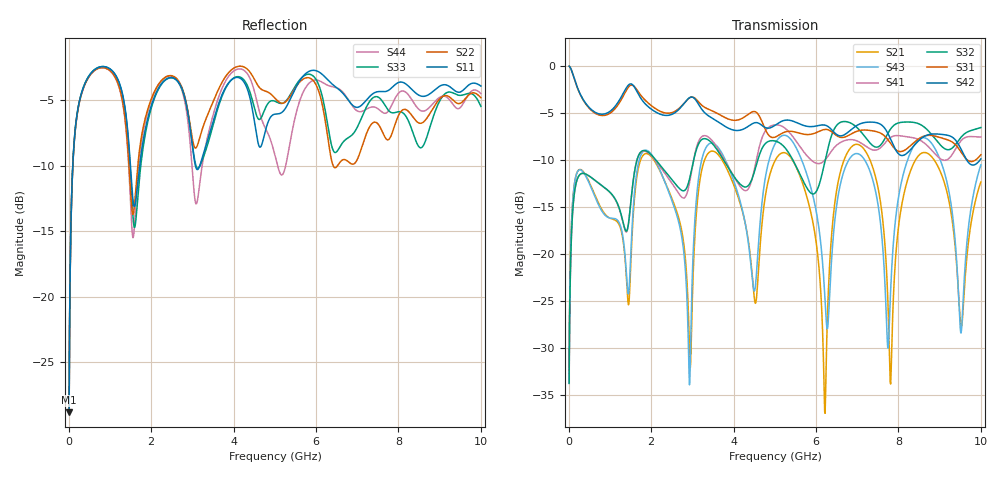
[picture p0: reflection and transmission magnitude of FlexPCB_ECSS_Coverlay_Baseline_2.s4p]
! TOUCHSTONE file generated by CST MICROWAVE STUDIO
! Date and time: Sun Jul  5 19:09:31 2026
! Project name: FlexPCB_ECSS_Coverlay_Baseline.cst
! Parameters = {Gap=0.4; GroundW=4; Hadh=0.025; Hcov=0.025; Hsub=0.1; L=50; Tcu=0.035; W=0.16}
! Header version: 2024
! Port assignment regex: !\s*Touchstone port\s*([0-9]+)\s*=\s*(CST MWS port|CST DES external port|CST DES block port)\s*(.+)\s* \(\"(.*)\"\)(\s*mode\s*([0-9]+))?.*
! Touchstone port assignment:
! Touchstone port 1 = CST MWS port 1 ("")
! Touchstone port 2 = CST MWS port 2 ("")
! Touchstone port 3 = CST MWS port 3 ("")
! Touchstone port 4 = CST MWS port 4 ("")
# GHz S MA R 50
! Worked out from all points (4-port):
!   1002 points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, 10 MHz to 10 GHz, reference 50 ohm
!   strongest paths, dB at 10 MHz, 2.51 GHz, 5.01 GHz, 7.503 GHz, 10 GHz:
!     S42: 0.0, -5.1, -6.3, -6.1, -9.9
!     S31: 0.0, -5.0, -7.6, -7.0, -9.4
!     S32: -33.7, -12.1, -8.0, -8.6, -6.5
!     S41: -33.7, -12.5, -6.3, -8.9, -7.6
!     S43: -32.6, -14.4, -8.2, -14.7, -10.5
!     S21: -32.6, -14.2, -10.0, -12.9, -12.3
!   lowest |S11| = -28.8 dB at 10 MHz (marker M1), VSWR 1.08, Z = 49.8 - j3.61 ohm
!   |S11| at or under -10 dB: start of sweep to 98.78 MHz; 1.497 GHz to 1.721 GHz (224 MHz wide, 13.9 % of centre); 3.073 GHz to 3.18 GHz (107.2 MHz wide, 3.43 % of centre)
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0.01  0.03623 -91.5  0.0234 85.3  0.9976 -2.6  0.02055 85.3
      0.0234 85.3  0.03589 -91.4  0.02055 85.3  0.9976 -2.6
      0.9976 -2.6  0.02055 85.3  0.03623 -91.5  0.02341 85.3
      0.02055 85.3  0.9976 -2.6  0.02341 85.3  0.03589 -91.4
1.54  0.2531 151.0  0.1291 63.1  0.7909 -166.5  0.2201 -104.6
      0.1291 63.1  0.2111 164.3  0.2208 -104.7  0.7978 -171.2
      0.7909 -166.5  0.2208 -104.7  0.2265 144.5  0.1417 63.2
      0.2201 -104.6  0.7978 -171.2  0.1417 63.2  0.1762 158.1
3.08  0.3131 166.5  0.1461 62.7  0.6692 22.5  0.3549 88.6
      0.1461 62.7  0.3689 176.8  0.3486 83.1  0.6603 17.4
      0.6692 22.5  0.3486 83.1  0.319 165.9  0.1752 69.1
      0.3549 88.6  0.6603 17.4  0.1752 69.1  0.2274 168.5
5.1  0.4987 -170.2  0.3361 16.1  0.429 170.5  0.4848 -145.6
     0.3361 16.1  0.5528 165.7  0.3919 -150.0  0.4992 174.6
     0.429 170.5  0.3919 -150.0  0.5478 179.8  0.4139 19.2
     0.4848 -145.6  0.4992 174.6  0.4139 19.2  0.3034 172.9
6.21  0.6906 172.9  0.01458 -153.5  0.4596 54.7  0.3151 101.3
      0.01458 -153.5  0.483 135.1  0.3069 134.1  0.4851 49.4
      0.4596 54.7  0.3069 134.1  0.5267 148.7  0.06165 -121.6
      0.3151 101.3  0.4851 49.4  0.06165 -121.6  0.6491 179.1
6.83  0.5496 169.8  0.3652 13.0  0.4324 -8.9  0.406 31.5
      0.3652 13.0  0.3229 169.5  0.4984 37.8  0.4546 -10.6
      0.4324 -8.9  0.4984 37.8  0.4085 -178.9  0.3249 16.7
      0.406 31.5  0.4546 -10.6  0.3249 16.7  0.5496 169.4
10  0.636 159.5  0.2417 22.5  0.3374 16.6  0.4192 52.6
    0.2417 22.5  0.5738 166.2  0.4706 53.2  0.3208 11.2
    0.3374 16.6  0.4706 53.2  0.5316 164.7  0.2982 29.7
    0.4192 52.6  0.3208 11.2  0.2982 29.7  0.5951 166.0
